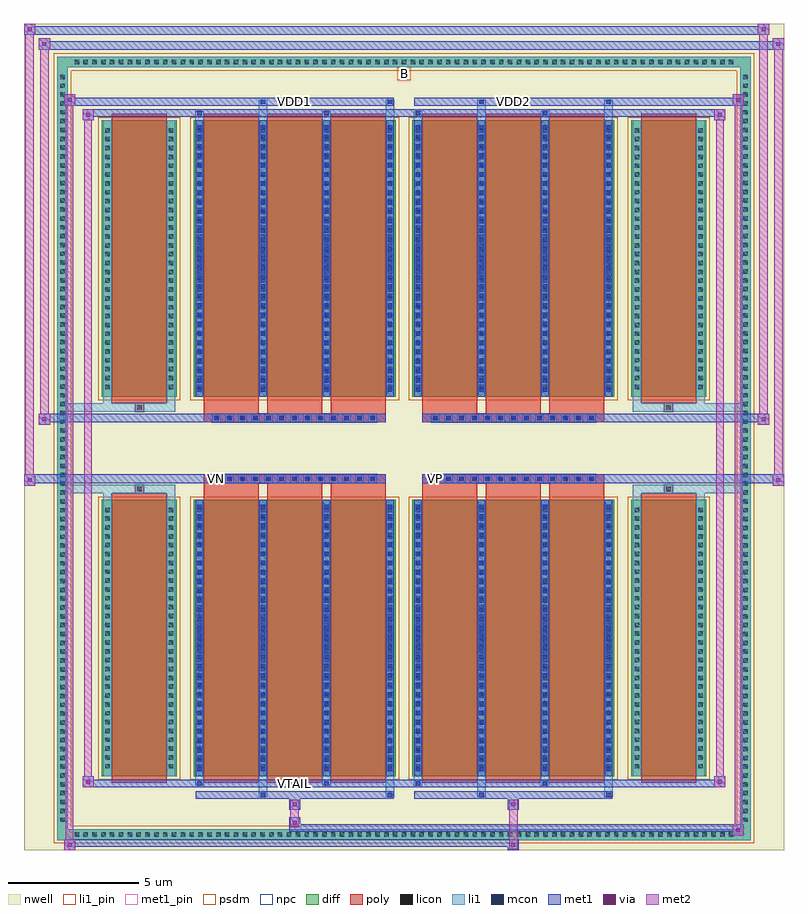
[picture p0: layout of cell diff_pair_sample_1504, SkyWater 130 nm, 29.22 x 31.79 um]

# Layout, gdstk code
import gdstk
lib = gdstk.Library(unit=1e-6, precision=5e-09)
def R(c, l, rs):  # rectangles x0, y0, x1, y1
    for r in rs: c.add(gdstk.rectangle(r[:2], r[2:], *l))
def A(c, l, x, y, w, h, nx, ny, dx, dy):  # array of equal rectangles
    R(c, l, [(x+i*dx, y+j*dy, x+i*dx+w, y+j*dy+h) for i in range(nx) for j in range(ny)])
def P(c, l, *ps):  # polygons
    for p in ps: c.add(gdstk.Polygon(p, *l))
nwell = (64, 20)
diff = (65, 20)
poly = (66, 20)
licon = (66, 44)
li1_pin = (67, 16)
li1 = (67, 20)
mcon = (67, 44)
met1_pin = (68, 16)
met1 = (68, 20)
via = (68, 44)
met2 = (69, 20)
psdm = (94, 20)
npc = (95, 20)

diff_pair_sample_1504 = lib.new_cell('diff_pair_sample_1504')
R(diff_pair_sample_1504, nwell, [(-14.61,-15.46,14.61,16.33), (-11.93,-13.65,-0.01,-0.805), (0.01,-13.65,11.93,-0.805), (-11.93,0.805,-0.01,13.65), (0.01,0.805,11.93,13.65)])
A(diff_pair_sample_1504, diff, -12.785, -15.06, 0.41, 0.41, 75, 2, 0.34, 29.71)
A(diff_pair_sample_1504, diff, -13.34, -14.485, 0.41, 0.41, 1, 85, 0, 0.34)
A(diff_pair_sample_1504, diff, 12.93, -14.485, 0.41, 0.41, 1, 85, 0, 0.34)
R(diff_pair_sample_1504, diff, [(-12.785,-15.06,12.785,-14.65), (-13.34,-14.485,-12.93,14.485), (12.93,-14.485,13.34,14.485), (-11.62,-12.605,-8.73,-1.985), (-8.09,-12.605,-0.32,-1.985), (0.32,-12.605,8.09,-1.985), (8.73,-12.605,11.62,-1.985), (-11.62,1.985,-8.73,12.605), (-8.09,1.985,-0.32,12.605), (0.32,1.985,8.09,12.605), (8.73,1.985,11.62,12.605), (-12.785,14.65,12.785,15.06)])
P(diff_pair_sample_1504, diff, [(13.34,15.06),(-13.34,15.06),(-13.34,-14.65),(-12.93,-14.65),(-12.93,14.65),(12.93,14.65),(12.93,-14.65),(-12.93,-14.65),(-13.34,-14.65),(-13.34,-15.06),(13.34,-15.06)])
A(diff_pair_sample_1504, poly, -7.7, -12.855, 2.11, 11.12, 3, 2, 2.44, 14.59)
A(diff_pair_sample_1504, poly, 0.71, -12.855, 2.11, 11.12, 3, 2, 2.44, 14.59)
A(diff_pair_sample_1504, poly, -7.7, -1.735, 2.11, 0.4, 3, 2, 2.44, 3.07)
A(diff_pair_sample_1504, poly, 0.71, -1.735, 2.11, 0.4, 3, 2, 2.44, 3.07)
A(diff_pair_sample_1504, poly, -7.37, -1.335, 0.33, 0.33, 13, 2, 0.5, 2.34)
A(diff_pair_sample_1504, poly, 1.04, -1.335, 0.33, 0.33, 13, 2, 0.5, 2.34)
R(diff_pair_sample_1504, poly, [(-11.23,-12.855,-9.12,-1.735), (9.12,-12.855,11.23,-1.735), (-10.34,-1.735,-10.01,-1.405), (-10.34,-1.735,-10.01,-1.405), (10.01,-1.735,10.34,-1.405), (10.01,-1.735,10.34,-1.405), (-7.7,-1.335,-0.71,-1.005), (0.71,-1.335,7.7,-1.005), (-7.7,1.005,-0.71,1.335), (0.71,1.005,7.7,1.335), (-10.34,1.405,-10.01,1.735), (-10.34,1.405,-10.01,1.735), (10.01,1.405,10.34,1.735), (10.01,1.405,10.34,1.735), (-11.23,1.735,-9.12,12.855), (9.12,1.735,11.23,12.855)])
A(diff_pair_sample_1504, licon, -12.665, -14.94, 0.17, 0.17, 75, 2, 0.34, 29.71)
A(diff_pair_sample_1504, licon, -13.22, -14.365, 0.17, 0.17, 1, 85, 0, 0.34)
A(diff_pair_sample_1504, licon, 13.05, -14.365, 0.17, 0.17, 1, 85, 0, 0.34)
A(diff_pair_sample_1504, licon, -11.48, -12.31, 0.17, 0.17, 1, 30, 0, 0.34)
A(diff_pair_sample_1504, licon, -9.04, -12.31, 0.17, 0.17, 1, 30, 0, 0.34)
A(diff_pair_sample_1504, licon, -7.95, -12.31, 0.17, 0.17, 4, 30, 2.44, 0.34)
A(diff_pair_sample_1504, licon, 0.46, -12.31, 0.17, 0.17, 4, 30, 2.44, 0.34)
A(diff_pair_sample_1504, licon, 8.87, -12.31, 0.17, 0.17, 1, 30, 0, 0.34)
A(diff_pair_sample_1504, licon, 11.31, -12.31, 0.17, 0.17, 1, 30, 0, 0.34)
A(diff_pair_sample_1504, licon, -7.29, -1.255, 0.17, 0.17, 13, 2, 0.5, 2.34)
A(diff_pair_sample_1504, licon, 1.12, -1.255, 0.17, 0.17, 13, 2, 0.5, 2.34)
A(diff_pair_sample_1504, licon, -11.48, 2.28, 0.17, 0.17, 1, 30, 0, 0.34)
A(diff_pair_sample_1504, licon, -9.04, 2.28, 0.17, 0.17, 1, 30, 0, 0.34)
A(diff_pair_sample_1504, licon, -7.95, 2.28, 0.17, 0.17, 4, 30, 2.44, 0.34)
A(diff_pair_sample_1504, licon, 0.46, 2.28, 0.17, 0.17, 4, 30, 2.44, 0.34)
A(diff_pair_sample_1504, licon, 8.87, 2.28, 0.17, 0.17, 1, 30, 0, 0.34)
A(diff_pair_sample_1504, licon, 11.31, 2.28, 0.17, 0.17, 1, 30, 0, 0.34)
R(diff_pair_sample_1504, licon, [(-10.26,-1.655,-10.09,-1.485), (10.09,-1.655,10.26,-1.485), (-10.26,1.485,-10.09,1.655), (10.09,1.485,10.26,1.655)])
R(diff_pair_sample_1504, li1_pin, [(-0.25,14.15,0.25,14.65)])
A(diff_pair_sample_1504, li1, -12.745, -15.02, 0.33, 0.33, 75, 2, 0.34, 29.71)
A(diff_pair_sample_1504, li1, -13.3, -14.445, 0.33, 0.33, 1, 85, 0, 0.34)
A(diff_pair_sample_1504, li1, 12.97, -14.445, 0.33, 0.33, 1, 85, 0, 0.34)
A(diff_pair_sample_1504, li1, -8.03, -12.605, 0.33, 10.62, 4, 2, 2.44, 14.59)
A(diff_pair_sample_1504, li1, 0.38, -12.605, 0.33, 10.62, 4, 2, 2.44, 14.59)
A(diff_pair_sample_1504, li1, -7.95, -12.42, 0.17, 0.17, 4, 29, 2.44, 0.36)
A(diff_pair_sample_1504, li1, -7.95, -12.42, 0.17, 10.25, 4, 2, 2.44, 14.59)
A(diff_pair_sample_1504, li1, 0.46, -12.42, 0.17, 0.17, 4, 29, 2.44, 0.36)
A(diff_pair_sample_1504, li1, 0.46, -12.42, 0.17, 10.25, 4, 2, 2.44, 14.59)
A(diff_pair_sample_1504, li1, -11.56, -12.39, 0.33, 0.33, 1, 30, 0, 0.34)
A(diff_pair_sample_1504, li1, -9.12, -12.39, 0.33, 0.33, 1, 30, 0, 0.34)
A(diff_pair_sample_1504, li1, -8.03, -12.39, 0.33, 0.33, 4, 30, 2.44, 0.34)
A(diff_pair_sample_1504, li1, 0.38, -12.39, 0.33, 0.33, 4, 30, 2.44, 0.34)
A(diff_pair_sample_1504, li1, 8.79, -12.39, 0.33, 0.33, 1, 30, 0, 0.34)
A(diff_pair_sample_1504, li1, 11.23, -12.39, 0.33, 0.33, 1, 30, 0, 0.34)
A(diff_pair_sample_1504, li1, -7.37, -1.335, 0.33, 0.33, 13, 2, 0.5, 2.34)
A(diff_pair_sample_1504, li1, 1.04, -1.335, 0.33, 0.33, 13, 2, 0.5, 2.34)
A(diff_pair_sample_1504, li1, -7.95, 2.17, 0.17, 0.17, 4, 29, 2.44, 0.36)
A(diff_pair_sample_1504, li1, 0.46, 2.17, 0.17, 0.17, 4, 29, 2.44, 0.36)
A(diff_pair_sample_1504, li1, -11.56, 2.2, 0.33, 0.33, 1, 30, 0, 0.34)
A(diff_pair_sample_1504, li1, -9.12, 2.2, 0.33, 0.33, 1, 30, 0, 0.34)
A(diff_pair_sample_1504, li1, -8.03, 2.2, 0.33, 0.33, 4, 30, 2.44, 0.34)
A(diff_pair_sample_1504, li1, 0.38, 2.2, 0.33, 0.33, 4, 30, 2.44, 0.34)
A(diff_pair_sample_1504, li1, 8.79, 2.2, 0.33, 0.33, 1, 30, 0, 0.34)
A(diff_pair_sample_1504, li1, 11.23, 2.2, 0.33, 0.33, 1, 30, 0, 0.34)
R(diff_pair_sample_1504, li1, [(-13.34,-15.06,-12.93,-14.65), (-13.34,-15.06,-12.93,-14.65), (-12.93,-15.06,12.93,-14.65), (12.93,-15.06,13.34,-14.65), (12.93,-15.06,13.34,-14.65), (-13.34,-14.65,-12.93,14.65), (12.93,-14.65,13.34,14.65), (-5.59,-13.41,-5.26,-12.605), (-5.51,-13.41,-5.34,-13.24), (-0.71,-13.41,-0.38,-12.605), (-0.63,-13.41,-0.46,-13.24), (2.82,-13.41,3.15,-12.605), (2.9,-13.41,3.07,-13.24), (7.7,-13.41,8.03,-12.605), (7.78,-13.41,7.95,-13.24), (-8.03,-12.98,-7.7,-12.605), (-7.95,-12.98,-7.78,-12.81), (-3.15,-12.98,-2.82,-12.605), (-3.07,-12.98,-2.9,-12.81), (0.38,-12.98,0.71,-12.605), (0.46,-12.98,0.63,-12.81), (5.26,-12.98,5.59,-12.605), (5.34,-12.98,5.51,-12.81), (-11.56,-12.605,-11.23,-1.985), (-9.12,-12.605,-8.79,-1.985), (8.79,-12.605,9.12,-1.985), (11.23,-12.605,11.56,-1.985), (-11.56,-1.985,-11.23,-1.405), (-9.12,-1.985,-8.79,-1.405), (8.79,-1.985,9.12,-1.405), (11.23,-1.985,11.56,-1.405), (-13.34,-1.735,-10.34,-1.405), (-11.56,-1.735,-10.34,-1.405), (-10.34,-1.735,-10.01,-1.405), (-10.01,-1.735,-8.79,-1.405), (8.79,-1.735,10.01,-1.405), (10.01,-1.735,10.34,-1.405), (10.01,-1.735,13.34,-1.405), (10.34,-1.735,11.56,-1.405), (-13.34,1.405,-10.34,1.735), (-11.56,1.405,-10.34,1.735), (-11.56,1.405,-11.23,1.985), (-10.34,1.405,-10.01,1.735), (-10.01,1.405,-8.79,1.735), (-9.12,1.405,-8.79,1.985), (8.79,1.405,10.01,1.735), (8.79,1.405,9.12,1.985), (10.01,1.405,10.34,1.735), (10.01,1.405,13.34,1.735), (10.34,1.405,11.56,1.735), (11.23,1.405,11.56,1.985), (-11.56,1.985,-11.23,12.605), (-9.12,1.985,-8.79,12.605), (8.79,1.985,9.12,12.605), (11.23,1.985,11.56,12.605), (-8.03,12.605,-7.7,12.98), (-5.59,12.605,-5.26,13.41), (-3.15,12.605,-2.82,12.98), (-0.71,12.605,-0.38,13.41), (0.38,12.605,0.71,12.98), (2.82,12.605,3.15,13.41), (5.26,12.605,5.59,12.98), (7.7,12.605,8.03,13.41), (-7.95,12.81,-7.78,12.98), (-3.07,12.81,-2.9,12.98), (0.46,12.81,0.63,12.98), (5.34,12.81,5.51,12.98), (-5.51,13.24,-5.34,13.41), (-0.63,13.24,-0.46,13.41), (2.9,13.24,3.07,13.41), (7.78,13.24,7.95,13.41), (-13.34,14.65,-12.93,15.06), (-13.34,14.65,-12.93,15.06), (-12.93,14.65,12.93,15.06), (12.93,14.65,13.34,15.06), (12.93,14.65,13.34,15.06)])
A(diff_pair_sample_1504, mcon, -7.95, -12.42, 0.17, 0.17, 4, 29, 2.44, 0.36)
A(diff_pair_sample_1504, mcon, 0.46, -12.42, 0.17, 0.17, 4, 29, 2.44, 0.36)
A(diff_pair_sample_1504, mcon, -7.29, -1.255, 0.17, 0.17, 13, 2, 0.5, 2.34)
A(diff_pair_sample_1504, mcon, 1.12, -1.255, 0.17, 0.17, 13, 2, 0.5, 2.34)
A(diff_pair_sample_1504, mcon, -7.95, 2.17, 0.17, 0.17, 4, 29, 2.44, 0.36)
A(diff_pair_sample_1504, mcon, 0.46, 2.17, 0.17, 0.17, 4, 29, 2.44, 0.36)
R(diff_pair_sample_1504, mcon, [(-5.51,-13.41,-5.34,-13.24), (-0.63,-13.41,-0.46,-13.24), (2.9,-13.41,3.07,-13.24), (7.78,-13.41,7.95,-13.24), (-7.95,-12.98,-7.78,-12.81), (-3.07,-12.98,-2.9,-12.81), (0.46,-12.98,0.63,-12.81), (5.34,-12.98,5.51,-12.81), (-7.95,12.81,-7.78,12.98), (-3.07,12.81,-2.9,12.98), (0.46,12.81,0.63,12.98), (5.34,12.81,5.51,12.98), (-5.51,13.24,-5.34,13.41), (-0.63,13.24,-0.46,13.41), (2.9,13.24,3.07,13.41), (7.78,13.24,7.95,13.41)])
R(diff_pair_sample_1504, met1_pin, [(-4.34,-13.02,-4.07,-12.75), (-7.34,-1.295,-7.07,-1.025), (1.07,-1.295,1.34,-1.025), (-4.34,13.2,-4.07,13.47), (4.07,13.2,4.34,13.47)])
A(diff_pair_sample_1504, met1, -8.01, -12.605, 0.29, 10.62, 4, 2, 2.44, 14.59)
A(diff_pair_sample_1504, met1, 0.4, -12.605, 0.29, 10.62, 4, 2, 2.44, 14.59)
A(diff_pair_sample_1504, met1, -8.01, -12.48, 0.29, 0.29, 4, 29, 2.44, 0.36)
A(diff_pair_sample_1504, met1, 0.4, -12.48, 0.29, 0.29, 4, 29, 2.44, 0.36)
A(diff_pair_sample_1504, met1, -7.35, -1.315, 0.29, 0.29, 13, 2, 0.5, 2.34)
A(diff_pair_sample_1504, met1, 1.06, -1.315, 0.29, 0.29, 13, 2, 0.5, 2.34)
A(diff_pair_sample_1504, met1, -8.01, 2.11, 0.29, 0.29, 4, 29, 2.44, 0.36)
A(diff_pair_sample_1504, met1, 0.4, 2.11, 0.29, 0.29, 4, 29, 2.44, 0.36)
R(diff_pair_sample_1504, met1, [(-13.07,-15.46,-12.64,-15.03), (3.99,-15.46,4.42,-15.03), (-13.07,-15.32,4.42,-15.03), (12.64,-14.89,13.07,-14.46), (-4.42,-14.75,13.07,-14.46), (-4.42,-14.61,-3.99,-14.18), (-4.42,-13.9,-3.99,-13.47), (3.99,-13.9,4.42,-13.47), (-8.01,-13.47,-0.4,-13.18), (-5.57,-13.47,-5.28,-13.18), (-0.69,-13.47,-0.4,-13.18), (0.4,-13.47,8.01,-13.18), (2.84,-13.47,3.13,-13.18), (7.72,-13.47,8.01,-13.18), (-12.36,-13.04,-11.93,-12.61), (-12.36,-13.04,-8.01,-12.75), (-8.01,-13.04,-7.72,-12.75), (-8.01,-13.04,-0.4,-12.75), (-3.13,-13.04,-2.84,-12.75), (-0.4,-13.04,0.4,-12.75), (0.4,-13.04,0.69,-12.75), (0.4,-13.04,8.01,-12.75), (5.28,-13.04,5.57,-12.75), (8.01,-13.04,12.36,-12.75), (11.93,-13.04,12.36,-12.61), (-14.61,-1.435,-14.18,-1.005), (14.18,-1.435,14.61,-1.005), (-14.61,-1.335,-0.71,-1.005), (-7.7,-1.335,-0.71,-1.005), (0.71,-1.335,7.7,-1.005), (0.71,-1.335,14.61,-1.005), (-14.04,0.905,-13.61,1.335), (13.61,0.905,14.04,1.335), (-14.04,1.005,-7.7,1.335), (-7.7,1.005,-0.71,1.335), (0.71,1.005,7.7,1.335), (7.7,1.005,14.04,1.335), (-12.36,12.61,-11.93,13.04), (11.93,12.61,12.36,13.04), (-12.36,12.75,-8.01,13.04), (-8.01,12.75,-7.72,13.04), (-8.01,12.75,-0.4,13.04), (-3.13,12.75,-2.84,13.04), (-0.4,12.75,0.4,13.04), (0.4,12.75,0.69,13.04), (0.4,12.75,8.01,13.04), (5.28,12.75,5.57,13.04), (8.01,12.75,12.36,13.04), (-13.07,13.18,-12.64,13.61), (-13.07,13.18,-8.01,13.47), (-8.01,13.18,-0.4,13.47), (-5.57,13.18,-5.28,13.47), (-0.69,13.18,-0.4,13.47), (0.4,13.18,8.01,13.47), (2.84,13.18,3.13,13.47), (7.72,13.18,8.01,13.47), (8.01,13.18,13.07,13.47), (12.64,13.18,13.07,13.61), (-14.04,15.33,-13.61,15.76), (-14.04,15.33,-11.93,15.66), (-11.93,15.33,11.93,15.66), (11.93,15.33,14.61,15.66), (14.18,15.33,14.61,15.76), (-14.61,15.9,-14.18,16.33), (-14.61,15.9,-11.93,16.23), (-11.93,15.9,11.93,16.23), (11.93,15.9,14.04,16.23), (13.61,15.9,14.04,16.33)])
R(diff_pair_sample_1504, via, [(-12.93,-15.32,-12.78,-15.17), (4.13,-15.32,4.28,-15.17), (12.78,-14.75,12.93,-14.6), (-4.28,-14.47,-4.13,-14.32), (-4.28,-13.76,-4.13,-13.61), (4.13,-13.76,4.28,-13.61), (-12.22,-12.9,-12.07,-12.75), (12.07,-12.9,12.22,-12.75), (-14.47,-1.295,-14.32,-1.145), (14.32,-1.295,14.47,-1.145), (-13.9,1.045,-13.75,1.195), (13.75,1.045,13.9,1.195), (-12.22,12.75,-12.07,12.9), (12.07,12.75,12.22,12.9), (-12.93,13.32,-12.78,13.47), (12.78,13.32,12.93,13.47), (-13.9,15.47,-13.75,15.62), (14.32,15.47,14.47,15.62), (-14.47,16.04,-14.32,16.19), (13.75,16.04,13.9,16.19)])
R(diff_pair_sample_1504, met2, [(-13.07,-15.46,-12.64,-15.03), (-13,-15.46,-12.71,13.61), (-12.71,-15.46,-12.64,-15.03), (-13.02,-15.41,-12.69,-15.08), (4.04,-15.41,4.37,-15.08), (4.04,-15.08,4.37,-13.85), (12.64,-14.89,13.07,-14.46), (12.71,-14.89,13,13.61), (13,-14.89,13.07,-14.46), (12.69,-14.84,13.02,-14.51), (-4.37,-14.56,-4.04,-14.23), (-4.37,-14.23,-4.04,-13.85), (-4.37,-13.85,-4.04,-13.52), (4.04,-13.85,4.37,-13.52), (-12.36,-13.04,-11.93,-12.61), (-12.29,-13.04,-12,13.04), (-12,-13.04,-11.93,-12.61), (11.93,-13.04,12.36,-12.61), (12,-13.04,12.29,13.04), (12.29,-13.04,12.36,-12.61), (-12.31,-12.99,-11.98,-12.66), (11.98,-12.99,12.31,-12.66), (-14.61,-1.435,-14.18,-1.005), (-14.56,-1.435,-14.23,16.33), (-14.23,-1.435,-14.18,-1.005), (14.18,-1.435,14.61,-1.005), (14.23,-1.435,14.56,15.76), (14.56,-1.435,14.61,-1.005), (-14.56,-1.385,-14.23,-1.055), (14.23,-1.385,14.56,-1.055), (-14.04,0.905,-13.61,1.335), (-13.99,0.905,-13.66,15.76), (-13.66,0.905,-13.61,1.335), (13.61,0.905,14.04,1.335), (13.66,0.905,13.99,16.33), (13.99,0.905,14.04,1.335), (-13.99,0.955,-13.66,1.285), (13.66,0.955,13.99,1.285), (-12.36,12.61,-11.93,13.04), (-12,12.61,-11.93,13.04), (11.93,12.61,12.36,13.04), (12.29,12.61,12.36,13.04), (-12.31,12.66,-11.98,12.99), (11.98,12.66,12.31,12.99), (-13.07,13.18,-12.64,13.61), (-12.71,13.18,-12.64,13.61), (12.64,13.18,13.07,13.61), (13,13.18,13.07,13.61), (-13.02,13.23,-12.69,13.56), (12.69,13.23,13.02,13.56), (-14.04,15.33,-13.61,15.76), (-13.66,15.33,-13.61,15.76), (14.18,15.33,14.61,15.76), (14.56,15.33,14.61,15.76), (-13.99,15.38,-13.66,15.71), (14.23,15.38,14.56,15.71), (-14.61,15.9,-14.18,16.33), (-14.23,15.9,-14.18,16.33), (13.61,15.9,14.04,16.33), (13.99,15.9,14.04,16.33), (-14.56,15.95,-14.23,16.28), (13.66,15.95,13.99,16.28)])
R(diff_pair_sample_1504, psdm, [(-11.75,-12.735,-8.6,-1.855), (-8.22,-12.735,-0.19,-1.855), (0.19,-12.735,8.22,-1.855), (8.6,-12.735,11.75,-1.855), (-11.75,1.855,-8.6,12.735), (-8.22,1.855,-0.19,12.735), (0.19,1.855,8.22,12.735), (8.6,1.855,11.75,12.735)])
P(diff_pair_sample_1504, psdm, [(13.47,15.19),(-13.47,15.19),(-13.47,-14.52),(-12.8,-14.52),(-12.8,14.52),(12.8,14.52),(12.8,-14.52),(-12.8,-14.52),(-13.47,-14.52),(-13.47,-15.19),(13.47,-15.19)])
A(diff_pair_sample_1504, npc, -7.39, -1.355, 0.37, 0.37, 13, 2, 0.5, 2.34)
A(diff_pair_sample_1504, npc, 1.02, -1.355, 0.37, 0.37, 13, 2, 0.5, 2.34)
R(diff_pair_sample_1504, npc, [(-10.36,-1.755,-9.99,-1.385), (9.99,-1.755,10.36,-1.385), (-7.39,-1.355,-6.52,-0.985), (-7.39,-1.355,-6.52,-0.985), (-6.89,-1.355,-6.02,-0.985), (-6.89,-1.355,-6.02,-0.985), (-6.39,-1.355,-5.52,-0.985), (-6.39,-1.355,-5.52,-0.985), (-5.89,-1.355,-5.02,-0.985), (-5.89,-1.355,-5.02,-0.985), (-5.39,-1.355,-4.52,-0.985), (-5.39,-1.355,-4.52,-0.985), (-4.89,-1.355,-4.02,-0.985), (-4.89,-1.355,-4.02,-0.985), (-4.39,-1.355,-3.52,-0.985), (-4.39,-1.355,-3.52,-0.985), (-3.89,-1.355,-3.02,-0.985), (-3.89,-1.355,-3.02,-0.985), (-3.39,-1.355,-2.52,-0.985), (-3.39,-1.355,-2.52,-0.985), (-2.89,-1.355,-2.02,-0.985), (-2.89,-1.355,-2.02,-0.985), (-2.39,-1.355,-1.52,-0.985), (-2.39,-1.355,-1.52,-0.985), (-1.89,-1.355,-1.02,-0.985), (-1.89,-1.355,-1.02,-0.985), (1.02,-1.355,1.89,-0.985), (1.02,-1.355,1.89,-0.985), (1.52,-1.355,2.39,-0.985), (1.52,-1.355,2.39,-0.985), (2.02,-1.355,2.89,-0.985), (2.02,-1.355,2.89,-0.985), (2.52,-1.355,3.39,-0.985), (2.52,-1.355,3.39,-0.985), (3.02,-1.355,3.89,-0.985), (3.02,-1.355,3.89,-0.985), (3.52,-1.355,4.39,-0.985), (3.52,-1.355,4.39,-0.985), (4.02,-1.355,4.89,-0.985), (4.02,-1.355,4.89,-0.985), (4.52,-1.355,5.39,-0.985), (4.52,-1.355,5.39,-0.985), (5.02,-1.355,5.89,-0.985), (5.02,-1.355,5.89,-0.985), (5.52,-1.355,6.39,-0.985), (5.52,-1.355,6.39,-0.985), (6.02,-1.355,6.89,-0.985), (6.02,-1.355,6.89,-0.985), (6.52,-1.355,7.39,-0.985), (6.52,-1.355,7.39,-0.985), (-7.39,0.985,-6.52,1.355), (-7.39,0.985,-6.52,1.355), (-6.89,0.985,-6.02,1.355), (-6.89,0.985,-6.02,1.355), (-6.39,0.985,-5.52,1.355), (-6.39,0.985,-5.52,1.355), (-5.89,0.985,-5.02,1.355), (-5.89,0.985,-5.02,1.355), (-5.39,0.985,-4.52,1.355), (-5.39,0.985,-4.52,1.355), (-4.89,0.985,-4.02,1.355), (-4.89,0.985,-4.02,1.355), (-4.39,0.985,-3.52,1.355), (-4.39,0.985,-3.52,1.355), (-3.89,0.985,-3.02,1.355), (-3.89,0.985,-3.02,1.355), (-3.39,0.985,-2.52,1.355), (-3.39,0.985,-2.52,1.355), (-2.89,0.985,-2.02,1.355), (-2.89,0.985,-2.02,1.355), (-2.39,0.985,-1.52,1.355), (-2.39,0.985,-1.52,1.355), (-1.89,0.985,-1.02,1.355), (-1.89,0.985,-1.02,1.355), (1.02,0.985,1.89,1.355), (1.02,0.985,1.89,1.355), (1.52,0.985,2.39,1.355), (1.52,0.985,2.39,1.355), (2.02,0.985,2.89,1.355), (2.02,0.985,2.89,1.355), (2.52,0.985,3.39,1.355), (2.52,0.985,3.39,1.355), (3.02,0.985,3.89,1.355), (3.02,0.985,3.89,1.355), (3.52,0.985,4.39,1.355), (3.52,0.985,4.39,1.355), (4.02,0.985,4.89,1.355), (4.02,0.985,4.89,1.355), (4.52,0.985,5.39,1.355), (4.52,0.985,5.39,1.355), (5.02,0.985,5.89,1.355), (5.02,0.985,5.89,1.355), (5.52,0.985,6.39,1.355), (5.52,0.985,6.39,1.355), (6.02,0.985,6.89,1.355), (6.02,0.985,6.89,1.355), (6.52,0.985,7.39,1.355), (6.52,0.985,7.39,1.355), (-10.36,1.385,-9.99,1.755), (9.99,1.385,10.36,1.755)])
diff_pair_sample_1504.add(gdstk.Label('VTAIL', (-4.205,-12.885), layer=68, texttype=5))
diff_pair_sample_1504.add(gdstk.Label('VN', (-7.205,-1.16), layer=68, texttype=5))
diff_pair_sample_1504.add(gdstk.Label('VP', (1.205,-1.16), layer=68, texttype=5))
diff_pair_sample_1504.add(gdstk.Label('B', (0,14.4), layer=67, texttype=5))
diff_pair_sample_1504.add(gdstk.Label('VDD2', (4.205,13.335), layer=68, texttype=5))
diff_pair_sample_1504.add(gdstk.Label('VDD1', (-4.205,13.335), layer=68, texttype=5))

lib.write_gds('diff_pair_sample_1504.gds')
